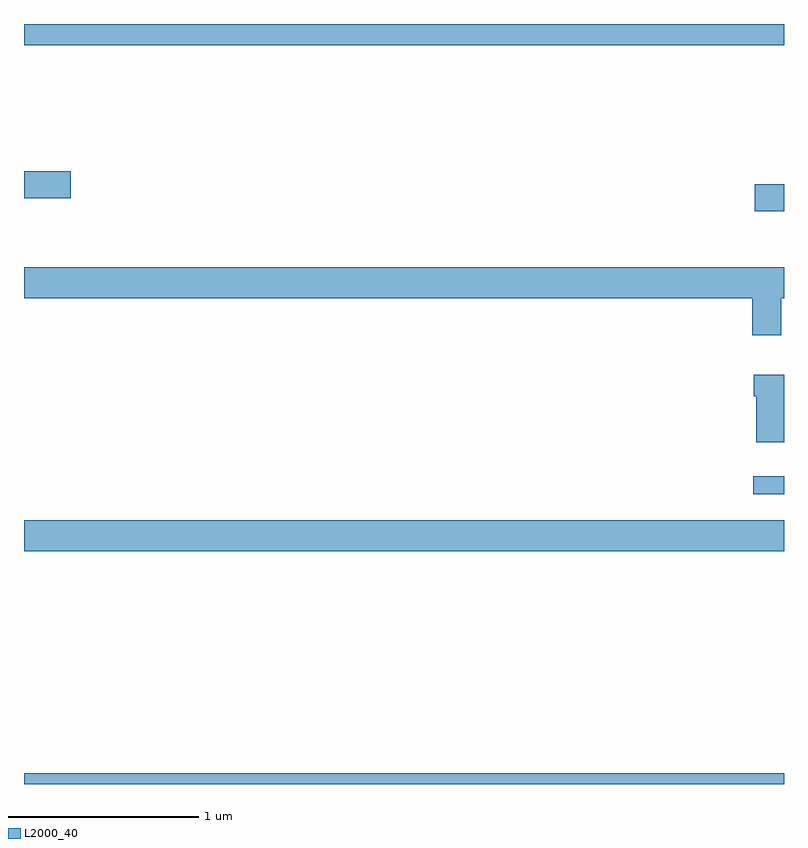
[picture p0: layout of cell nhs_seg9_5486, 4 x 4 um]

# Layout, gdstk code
import gdstk
lib = gdstk.Library(unit=1e-6, precision=1e-09)
def R(c, l, rs):  # rectangles x0, y0, x1, y1
    for r in rs: c.add(gdstk.rectangle(r[:2], r[2:], *l))
def P(c, l, *ps):  # polygons
    for p in ps: c.add(gdstk.Polygon(p, *l))
L2000_40 = (2000, 40)

nhs_seg9_5486 = lib.new_cell('nhs_seg9_5486')
R(nhs_seg9_5486, L2000_40, [(429,1224.5,433,1224.556), (429,1225.724,433,1225.888), (432.837,1226.024,433,1226.121), (432.846,1227.514,433,1227.656), (429,1227.583,429.247,1227.725), (429,1228.388,433,1228.5)])
P(nhs_seg9_5486, L2000_40, [(432.985,1227.056),(433,1227.056),(433,1227.22),(429,1227.22),(429,1227.056),(432.833,1227.056),(432.833,1226.862),(432.985,1226.862)],
  [(433,1226.653),(432.842,1226.653),(432.842,1226.54),(432.854,1226.54),(432.854,1226.3),(433,1226.3)])

lib.write_gds('nhs_seg9_5486.gds')
